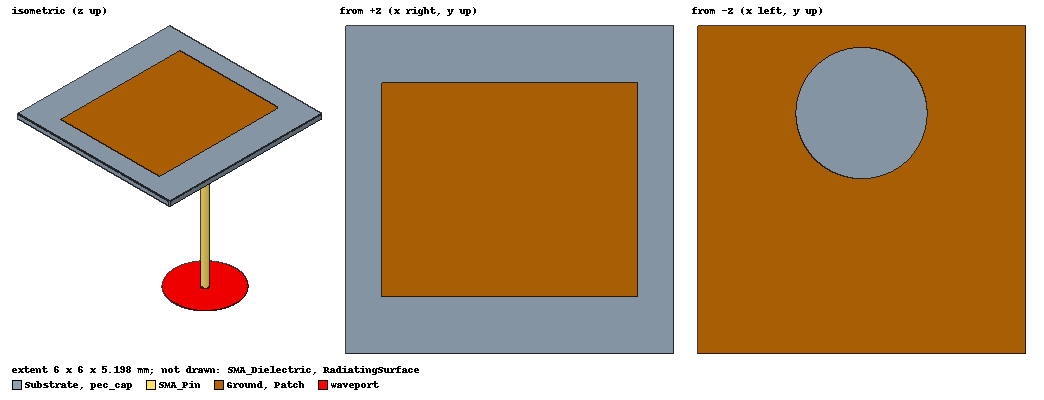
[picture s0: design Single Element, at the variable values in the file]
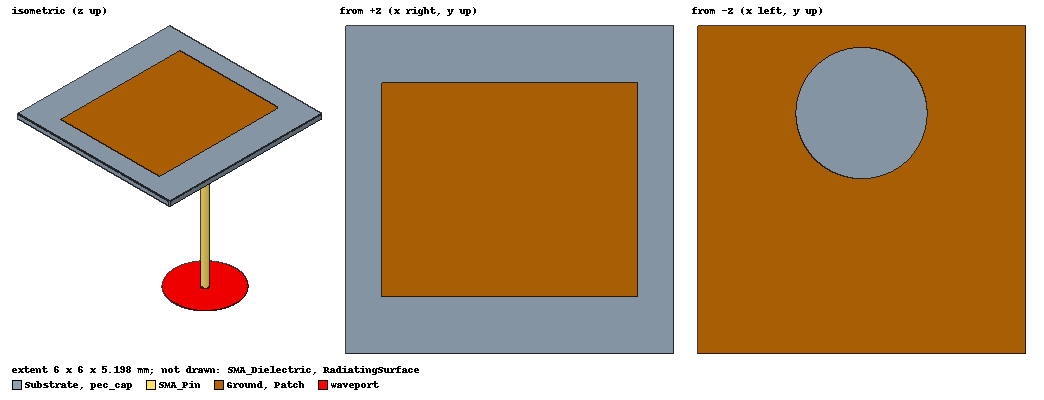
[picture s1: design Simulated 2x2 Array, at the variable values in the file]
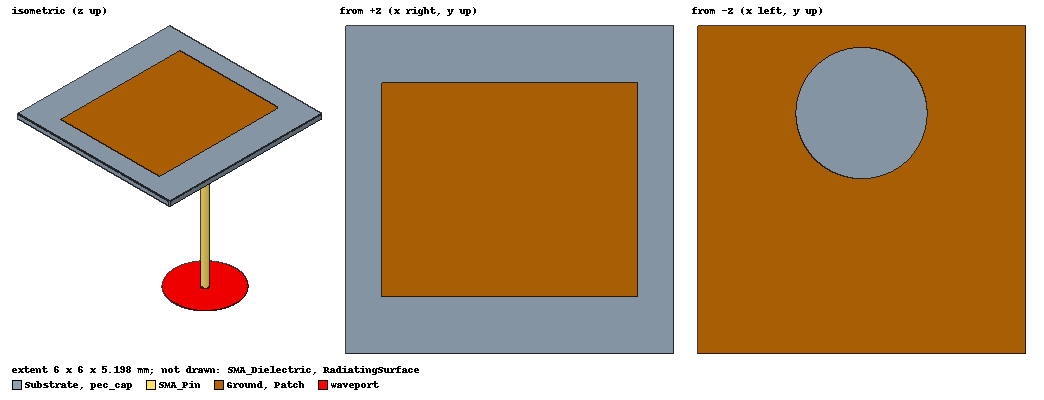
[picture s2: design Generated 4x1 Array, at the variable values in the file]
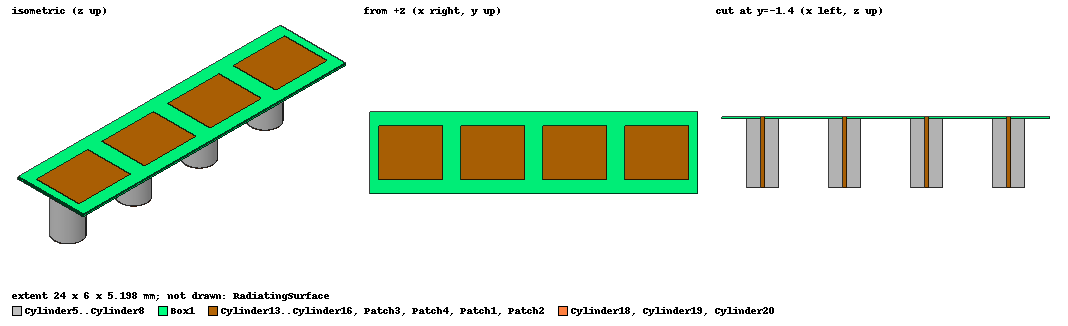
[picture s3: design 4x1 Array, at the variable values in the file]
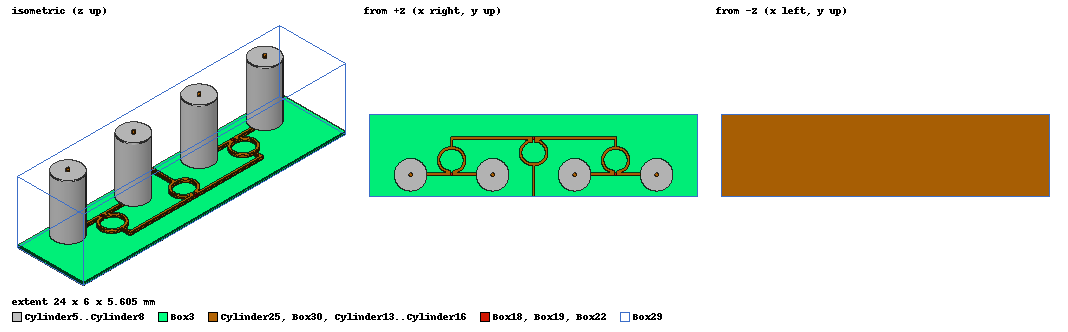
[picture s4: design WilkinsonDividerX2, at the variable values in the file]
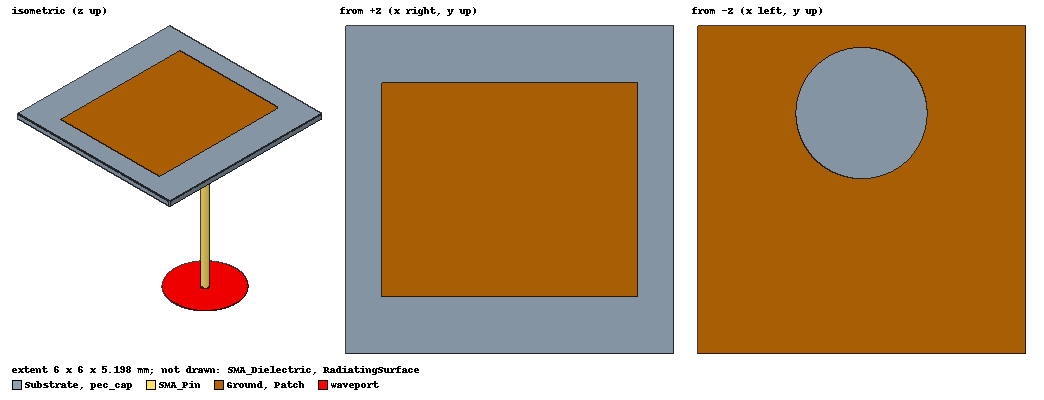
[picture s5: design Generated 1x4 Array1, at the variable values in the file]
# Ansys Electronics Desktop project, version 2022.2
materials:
  vacuum: permittivity=1
  FR4_epoxy: permittivity=4.4 dielectric_loss_tangent=0.02
  pec: conductivity=1e+30
  Teflon (tm): permittivity=2.1 dielectric_loss_tangent=0.001
  air: permittivity=1.0006 permeability=1.0000004
  Duroid (tm): permittivity=2.2 dielectric_loss_tangent=0.0009
  Rogers RT/duroid 5880 (tm): permittivity=2.2 dielectric_loss_tangent=0.0009

design Single Element (HFSS, DrivenTerminal, model units mm)
options: Allow_Material_Override
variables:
  Lg = lambda/2
  wg = lambda/2
  h = 0.015*lambda
  L = 4.7mm
  w = 3.9mm
  Xf = 0mm
  Yf = 1.4mm
  die_diam = 2.4mm
  pin_diam = 0.25mm
  lambda = 12mm
  len = 5mm
  PhiScan = 0deg
  ThetaScan = 0deg
  ScanFrequency = 24500000000Hz
  ScanAngleTheta = 0deg
  ScanAnglePhi = 0deg
  ScanPhaseShiftA = -((ScanFrequency*0.0*sin(ScanAngleTheta)*cos(ScanAnglePhi)) + (ScanFrequency*1.25750701317e-10*sin(ScanAngleTheta)*sin(ScanAnglePhi))) rad
  ScanPhaseShiftB = -((ScanFrequency*1.25750701317e-10*sin(ScanAngleTheta)*cos(ScanAnglePhi)) + (ScanFrequency*0.0*sin(ScanAngleTheta)*sin(ScanAnglePhi))) rad
  ScanMag1 = 1V
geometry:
  Substrate [Rogers RT/duroid 5880 (tm)] = box(corner=(-Lg/2, -wg/2, -h), size=(Lg, wg, h))
  Patch = rectangle(corner=(-L/2, -w/2, 0mm), x_size=L, y_size=w)
  Ground = rectangle(corner=(-Lg/2, -wg/2, -h), x_size=Lg, y_size=wg)
  Circle1 = circle(normal=Z, centre=(Xf, Yf, -h), radius=die_diam/2)
  Ground.subtract(Circle1)
  Cylinder1 = cylinder(axis=Z, base_centre=(Xf, Yf, 0mm), radius=pin_diam/2, height=-h)
  Substrate.subtract(Cylinder1)
  SMA_Dielectric [air] = cylinder(axis=Z, base_centre=(Xf, Yf, -h), radius=die_diam/2, height=-len)
  Cylinder3 = cylinder(axis=Z, base_centre=(Xf, Yf, -h), radius=pin_diam/2, height=-10mm)
  SMA_Dielectric.subtract(Cylinder3)
  SMA_Pin [pec] = cylinder(axis=Z, base_centre=(Xf, Yf, 0mm), radius=pin_diam/2, height=-h-len)
  pec_cap [pec] = cylinder(axis=Z, base_centre=(Xf, Yf, -h-len), radius=die_diam/2, height=-h/10)
  waveport = circle(normal=Z, centre=(Xf, Yf, -h-len), radius=die_diam/2)
  RadiatingSurface [air] = region(absolute_offset: +X=4.0816327mm, -X=4.0816327mm, +Y=4.0816327mm, -Y=4.0816327mm, +Z=4.0816327mm, -Z=0mm)
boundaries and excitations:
  Ground_Plane: Perfect E Objects=Ground
  Patch: Perfect E Objects=Patch
  Outer_Conductor: Perfect E Faces=SMA_Dielectric.face(1 of 3)
  AutoOpen1: Radiation Objects=RadiatingSurface
  SMA_Pin_T1: Terminal port=1 Faces=SMA_Pin.face(2 of 3) TerminalResistance=50ohm
  1: Wave Port Faces=waveport.face NumModes=1
  reference conductors: pec_cap
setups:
  Setup1: HfssDriven Frequency=24.5GHz MaxDeltaS=0.02 MaximumPasses=15 MinimumPasses=1 MinimumConvergedPasses=1 PercentRefinement=30 BasisOrder=1 PortAccuracy=2 DrivenSolverType="Direct Solver" InfiniteSphereSetup=66
    sweep Sweep: 21.5GHz to 27.5GHz, 1501 points; Type=Interpolating SaveFields InterpTolerance=0.5 InterpMaxSolns=250 PassivityErrorTolerance=0.0001
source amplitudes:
  1:1: 1V 0deg
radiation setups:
  3D: Infinite Sphere Theta=-180deg..180deg step 2deg Phi=-180deg..180deg step 2deg
  Elevation: Infinite Sphere Theta=-180deg..180deg step 1deg Phi=0deg..90deg step 90deg
  Azimuth: Infinite Sphere Theta=90deg..90deg step 0deg Phi=-180deg..180deg step 1deg
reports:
  S11 Reflection: dB(St(SMA_Pin_T1,SMA_Pin_T1)) vs Freq on Setup1 : Sweep; markers m1 at 24.524GHz, m2 at 24.236GHz, m3 at 24.836GHz
  Gain 2D [dB]: dB(GainTotal) vs Theta on Setup1 : LastAdaptive, 3D [Phi=0deg,90deg Freq=24.5GHz]; markers m1 at 0deg, m2 at 42deg
  Terminal S Parameter Chart 1: St(SMA_Pin_T1,SMA_Pin_T1) on Setup1 : Sweep [Freq=all]; markers m1 at 24.508GHz
  Gain Plot 3: dB(GainTotal) vs Phi, Theta on Setup1 : LastAdaptive, 3D [Freq=24.5GHz]
  Terminal VSWR Plot 1: VSWRt(SMA_Pin_T1) vs Freq on Setup1 : Sweep; markers m1 at 24.212GHz, m2 at 24.86GHz
  Directivity 2D [dB]: dB(DirTotal) vs Theta on Setup1 : LastAdaptive, 3D [Phi=0deg,90deg Freq=24.5GHz]; markers m1 at 0deg, m2 at 42deg
  Port 1 VSWR: VSWRt(SMA_Pin_T1) vs Freq on Setup1 : Sweep; markers m1 at 24.212GHz, m2 at 24.86GHz

design Simulated 2x2 Array (HFSS, DrivenTerminal, model units mm)
options: Allow_Material_Override
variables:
  Lg = lambda/2
  wg = lambda/2
  h = 0.015*lambda
  L = 4.7mm
  w = 3.9mm
  Xf = 0mm
  Yf = 1.4mm
  die_diam = 2.4mm
  pin_diam = 0.25mm
  lambda = 12mm
  len = 5mm
  PhiScan = 0deg
  ThetaScan = 0deg
  ScanFrequency = 24500000000Hz
  ScanAngleTheta = 0deg
  ScanAnglePhi = 0deg
  ScanPhaseShiftA = -((ScanFrequency*0.0*sin(ScanAngleTheta)*cos(ScanAnglePhi)) + (ScanFrequency*1.25750701317e-10*sin(ScanAngleTheta)*sin(ScanAnglePhi))) rad
  ScanPhaseShiftB = -((ScanFrequency*1.25750701317e-10*sin(ScanAngleTheta)*cos(ScanAnglePhi)) + (ScanFrequency*0.0*sin(ScanAngleTheta)*sin(ScanAnglePhi))) rad
  ScanMag1 = 1V
  ScanPhase1 = 0deg
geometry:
  Substrate [Rogers RT/duroid 5880 (tm)] = box(corner=(-Lg/2, -wg/2, -h), size=(Lg, wg, h))
  Patch = rectangle(corner=(-L/2, -w/2, 0mm), x_size=L, y_size=w)
  Ground = rectangle(corner=(-Lg/2, -wg/2, -h), x_size=Lg, y_size=wg)
  Circle1 = circle(normal=Z, centre=(Xf, Yf, -h), radius=die_diam/2)
  Ground.subtract(Circle1)
  Cylinder1 = cylinder(axis=Z, base_centre=(Xf, Yf, 0mm), radius=pin_diam/2, height=-h)
  Substrate.subtract(Cylinder1)
  SMA_Dielectric [air] = cylinder(axis=Z, base_centre=(Xf, Yf, -h), radius=die_diam/2, height=-len)
  Cylinder3 = cylinder(axis=Z, base_centre=(Xf, Yf, -h), radius=pin_diam/2, height=-10mm)
  SMA_Dielectric.subtract(Cylinder3)
  SMA_Pin [pec] = cylinder(axis=Z, base_centre=(Xf, Yf, 0mm), radius=pin_diam/2, height=-h-len)
  pec_cap [pec] = cylinder(axis=Z, base_centre=(Xf, Yf, -h-len), radius=die_diam/2, height=-h/10)
  waveport = circle(normal=Z, centre=(Xf, Yf, -h-len), radius=die_diam/2)
  RadiatingSurface [air] = region(absolute_offset: +X=0mm, -X=0mm, +Y=0mm, -Y=0mm, +Z=4.0816327mm, -Z=0mm)
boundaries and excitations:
  Ground_Plane: Perfect E Objects=Ground
  Patch: Perfect E Objects=Patch
  Outer_Conductor: Perfect E Faces=SMA_Dielectric.face(1 of 3)
  LatticePair1: Lattice Pair Faces=RadiatingSurface.face(-y, +y) CoordSysVector{(-3, -3, 4.0816327) -> (-3, -3, -5.198)} ReverseV PhaseDelay=UseScanAngle Phi=PhiScan Theta=ThetaScan
  LatticePair2: Lattice Pair Faces=RadiatingSurface.face(-x, +x) CoordSysVector{(-3, 3, 4.0816327) -> (-3, 3, -5.198)} ReverseV PhaseDelay=UseScanAngle Phi=PhiScan Theta=ThetaScan
  Rad1: Radiation Faces=RadiatingSurface.face(+z, -z)
  SMA_Pin_T1: Terminal port=1 Faces=SMA_Pin.face(2 of 3) TerminalResistance=50ohm
  1: Wave Port Faces=waveport.face NumModes=1
  reference conductors: pec_cap
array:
  Type=Regular Name=2x2 UseAirObjects RowPrimaryBnd=LatticePair1 ColumnPrimaryBnd=LatticePair2 RowDimension=2 ColumnDimension=2 ShowCellNumber RenderType=0 Padding=1 PostProcessRow=1 PostProcessCol=1 ReferenceCSID=1
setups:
  Setup1: HfssDriven Frequency=24.5GHz MaxDeltaS=0.02 MaximumPasses=15 MinimumPasses=1 MinimumConvergedPasses=1 PercentRefinement=30 BasisOrder=1 PortAccuracy=2 DrivenSolverType="Direct Solver" InfiniteSphereSetup=66
    sweep Sweep: 21.5GHz to 27.5GHz, 1501 points; Type=Interpolating SaveFields InterpTolerance=0.5 InterpMaxSolns=250 PassivityErrorTolerance=0.0001
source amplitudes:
  1:1: ScanMag1*1 ScanPhase1 + (0*ScanPhaseShiftA + 0*ScanPhaseShiftB)
  1:2: ScanMag1*1 ScanPhase1 + (0*ScanPhaseShiftA + 1*ScanPhaseShiftB)
  1:3: ScanMag1*1 ScanPhase1 + (1*ScanPhaseShiftA + 0*ScanPhaseShiftB)
  1:4: ScanMag1*1 ScanPhase1 + (1*ScanPhaseShiftA + 1*ScanPhaseShiftB)
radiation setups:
  Infinite Sphere1: Infinite Sphere Theta=-180deg..180deg step 10deg Phi=-180deg..180deg step 10deg
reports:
  Terminal S Parameter Plot 2: dB(St(2x2[1,1]SMA_Pin_T1,2x2[1,1]SMA_Pin_T1)), dB(St(2x2[1,2]SMA_Pin_T1,2x2[1,2]SMA_Pin_T1)), dB(St(2x2[2,1]SMA_Pin_T1,2x2[2,1]SMA_Pin_T1)), dB(St(2x2[2,2]SMA_Pin_T1,2x2[2,2]SMA_Pin_T1)) vs Freq on Setup1 : Sweep; markers m1 at 24.556GHz, m2 at 24.276GHz, m3 at 24.848GHz
  Terminal S Parameter Chart 1: St(2x2[1,1]SMA_Pin_T1,2x2[1,1]SMA_Pin_T1), St(2x2[1,2]SMA_Pin_T1,2x2[1,2]SMA_Pin_T1), St(2x2[2,1]SMA_Pin_T1,2x2[2,1]SMA_Pin_T1), St(2x2[2,2]SMA_Pin_T1,2x2[2,2]SMA_Pin_T1) on Setup1 : Sweep [Freq=all]; markers m1 at 24.536GHz
  Gain Plot 1: dB(GainTotal) vs Phi, Theta on Setup1 : LastAdaptive, Infinite Sphere1 [Freq=24.5GHz]
  Gain Plot 2: dB(GainTotal) vs Theta on Setup1 : LastAdaptive, Infinite Sphere1 [Phi=0deg,90deg Freq=24.5GHz]
  Directivity Plot 1: dB(DirTotal) vs Theta on Setup1 : LastAdaptive, Infinite Sphere1 [Phi=0deg,90deg Freq=24.5GHz]; markers m1 at 0deg, m2 at 30deg, m3 at -30deg

design Generated 4x1 Array (HFSS, DrivenTerminal, model units mm)
options: Allow_Material_Override
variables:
  Lg = lambda/2
  wg = lambda/2
  h = 0.015*lambda
  L = 4.7mm
  w = 3.9mm
  Xf = 0mm
  Yf = 1.4mm
  die_diam = 2.4mm
  pin_diam = 0.25mm
  lambda = 12mm
  len = 5mm
  PhiScan = 0deg
  ThetaScan = 0deg
  ScanFrequency = 24500000000Hz
  ScanAngleTheta = 0deg
  ScanAnglePhi = 0deg
  ScanPhaseShiftA = -((ScanFrequency*0.0*sin(ScanAngleTheta)*cos(ScanAnglePhi)) + (ScanFrequency*1.25750701317e-10*sin(ScanAngleTheta)*sin(ScanAnglePhi))) rad
  ScanPhaseShiftB = -((ScanFrequency*1.25750701317e-10*sin(ScanAngleTheta)*cos(ScanAnglePhi)) + (ScanFrequency*0.0*sin(ScanAngleTheta)*sin(ScanAnglePhi))) rad
  ScanMag1 = 1V
  ScanPhase1 = 0deg
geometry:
  Substrate [Rogers RT/duroid 5880 (tm)] = box(corner=(-Lg/2, -wg/2, -h), size=(Lg, wg, h))
  Patch = rectangle(corner=(-L/2, -w/2, 0mm), x_size=L, y_size=w)
  Ground = rectangle(corner=(-Lg/2, -wg/2, -h), x_size=Lg, y_size=wg)
  Circle1 = circle(normal=Z, centre=(Xf, Yf, -h), radius=die_diam/2)
  Ground.subtract(Circle1)
  Cylinder1 = cylinder(axis=Z, base_centre=(Xf, Yf, 0mm), radius=pin_diam/2, height=-h)
  Substrate.subtract(Cylinder1)
  SMA_Dielectric [air] = cylinder(axis=Z, base_centre=(Xf, Yf, -h), radius=die_diam/2, height=-len)
  Cylinder3 = cylinder(axis=Z, base_centre=(Xf, Yf, -h), radius=pin_diam/2, height=-10mm)
  SMA_Dielectric.subtract(Cylinder3)
  SMA_Pin [pec] = cylinder(axis=Z, base_centre=(Xf, Yf, 0mm), radius=pin_diam/2, height=-h-len)
  pec_cap [pec] = cylinder(axis=Z, base_centre=(Xf, Yf, -h-len), radius=die_diam/2, height=-h/10)
  waveport = circle(normal=Z, centre=(Xf, Yf, -h-len), radius=die_diam/2)
  RadiatingSurface [air] = region(absolute_offset: +X=0mm, -X=0mm, +Y=0mm, -Y=0mm, +Z=4.0816327mm, -Z=0mm)
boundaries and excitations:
  Ground_Plane: Perfect E Objects=Ground
  Patch: Perfect E Objects=Patch
  Outer_Conductor: Perfect E Faces=SMA_Dielectric.face(1 of 3)
  LatticePair1: Lattice Pair Faces=RadiatingSurface.face(-y, +y) CoordSysVector{(-3, -3, 4.0816327) -> (-3, -3, -5.198)} ReverseV PhaseDelay=UseScanAngle Phi=PhiScan Theta=ThetaScan
  LatticePair2: Lattice Pair Faces=RadiatingSurface.face(-x, +x) CoordSysVector{(-3, 3, 4.0816327) -> (-3, 3, -5.198)} ReverseV PhaseDelay=UseScanAngle Phi=PhiScan Theta=ThetaScan
  Rad1: Radiation Faces=RadiatingSurface.face(+z, -z)
  SMA_Pin_T1: Terminal port=1 Faces=SMA_Pin.face(2 of 3) TerminalResistance=50ohm
  1: Wave Port Faces=waveport.face NumModes=1
  reference conductors: pec_cap
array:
  Type=Regular Name=4x1 UseAirObjects RowPrimaryBnd=LatticePair1 ColumnPrimaryBnd=LatticePair2 RowDimension=4 ColumnDimension=1 ShowCellNumber RenderType=0 Padding=1 PostProcessRow=1 PostProcessCol=1 ReferenceCSID=1
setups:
  Setup1: HfssDriven Frequency=24.5GHz MaxDeltaS=0.02 MaximumPasses=5 MinimumPasses=1 MinimumConvergedPasses=1 PercentRefinement=30 BasisOrder=1 PortAccuracy=2 DrivenSolverType="Direct Solver" InfiniteSphereSetup=88
    sweep Sweep: 23.5GHz to 25.5GHz, 501 points; Type=Discrete SaveFields
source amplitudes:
  1:1: ScanMag1*1 ScanPhase1 + (0*ScanPhaseShiftA + 0*ScanPhaseShiftB)
  1:2: ScanMag1*1 ScanPhase1 + (1*ScanPhaseShiftA + 0*ScanPhaseShiftB)
  1:3: ScanMag1*1 ScanPhase1 + (2*ScanPhaseShiftA + 0*ScanPhaseShiftB)
  1:4: ScanMag1*1 ScanPhase1 + (3*ScanPhaseShiftA + 0*ScanPhaseShiftB)
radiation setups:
  Infinite Sphere1: Infinite Sphere Theta=-180deg..180deg step 10deg Phi=-180deg..180deg step 10deg
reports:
  Terminal S Parameter Plot 1: dB(St(4x1[1,1]SMA_Pin_T1,4x1[1,1]SMA_Pin_T1)), dB(St(4x1[2,1]SMA_Pin_T1,4x1[2,1]SMA_Pin_T1)), dB(St(4x1[3,1]SMA_Pin_T1,4x1[3,1]SMA_Pin_T1)), dB(St(4x1[4,1]SMA_Pin_T1,4x1[4,1]SMA_Pin_T1)) vs Freq on Setup1 : Sweep; markers m1 at 24.576GHz, m2 at 23.928GHz
  Gain Plot 1: dB(GainTotal) vs Phi, Theta on Setup1 : LastAdaptive, Infinite Sphere1 [Freq=24.5GHz]
  Directivity Plot 1: dB(DirTotal) vs Phi, Theta on Setup1 : LastAdaptive, Infinite Sphere1 [Freq=24.5GHz]
  2D Directivity [dB]: dB(DirTotal) vs Theta on Setup1 : LastAdaptive, Infinite Sphere1 [Phi=0deg,90deg Freq=24.5GHz]; markers m1 at 0deg, m2 at 10deg, m3 at 50deg, m4 at -50deg, m7 at 180deg, m8 at 40deg
  Terminal S Parameter Plot 2: dB(St(4x1[1,1]SMA_Pin_T1,4x1[1,1]SMA_Pin_T1)), dB(St(4x1[2,1]SMA_Pin_T1,4x1[1,1]SMA_Pin_T1)), dB(St(4x1[3,1]SMA_Pin_T1,4x1[1,1]SMA_Pin_T1)), dB(St(4x1[4,1]SMA_Pin_T1,4x1[1,1]SMA_Pin_T1)), dB(St(4x1[1,1]SMA_Pin_T1,4x1[2,1]SMA_Pin_T1)), dB(St(4x1[2,1]SMA_Pin_T1,4x1[2,1]SMA_Pin_T1)), dB(St(4x1[3,1]SMA_Pin_T1,4x1[2,1]SMA_Pin_T1)), dB(St(4x1[4,1]SMA_Pin_T1,4x1[2,1]SMA_Pin_T1)), dB(St(4x1[1,1]SMA_Pin_T1,4x1[3,1]SMA_Pin_T1)), dB(St(4x1[2,1]SMA_Pin_T1,4x1[3,1]SMA_Pin_T1)), dB(St(4x1[3,1]SMA_Pin_T1,4x1[3,1]SMA_Pin_T1)), dB(St(4x1[4,1]SMA_Pin_T1,4x1[3,1]SMA_Pin_T1)), dB(St(4x1[1,1]SMA_Pin_T1,4x1[4,1]SMA_Pin_T1)), dB(St(4x1[2,1]SMA_Pin_T1,4x1[4,1]SMA_Pin_T1)), dB(St(4x1[3,1]SMA_Pin_T1,4x1[4,1]SMA_Pin_T1)), dB(St(4x1[4,1]SMA_Pin_T1,4x1[4,1]SMA_Pin_T1)) vs Freq on Setup1 : Sweep
  VSWR @Each Port: VSWRt(4x1[1,1]SMA_Pin_T1), VSWRt(4x1[2,1]SMA_Pin_T1), VSWRt(4x1[3,1]SMA_Pin_T1) vs Freq on Setup1 : Sweep; markers m1 at 23.932GHz, m2 at 24.6GHz
  S- Parameters: dB(St(4x1[1,1]SMA_Pin_T1,4x1[1,1]SMA_Pin_T1)), dB(St(4x1[2,1]SMA_Pin_T1,4x1[1,1]SMA_Pin_T1)), dB(St(4x1[3,1]SMA_Pin_T1,4x1[1,1]SMA_Pin_T1)), dB(St(4x1[4,1]SMA_Pin_T1,4x1[1,1]SMA_Pin_T1)), dB(St(4x1[1,1]SMA_Pin_T1,4x1[2,1]SMA_Pin_T1)), dB(St(4x1[2,1]SMA_Pin_T1,4x1[2,1]SMA_Pin_T1)), dB(St(4x1[3,1]SMA_Pin_T1,4x1[2,1]SMA_Pin_T1)), dB(St(4x1[4,1]SMA_Pin_T1,4x1[2,1]SMA_Pin_T1)), dB(St(4x1[1,1]SMA_Pin_T1,4x1[3,1]SMA_Pin_T1)), dB(St(4x1[2,1]SMA_Pin_T1,4x1[3,1]SMA_Pin_T1)), dB(St(4x1[3,1]SMA_Pin_T1,4x1[3,1]SMA_Pin_T1)), dB(St(4x1[4,1]SMA_Pin_T1,4x1[3,1]SMA_Pin_T1)), dB(St(4x1[1,1]SMA_Pin_T1,4x1[4,1]SMA_Pin_T1)), dB(St(4x1[2,1]SMA_Pin_T1,4x1[4,1]SMA_Pin_T1)), dB(St(4x1[3,1]SMA_Pin_T1,4x1[4,1]SMA_Pin_T1)), dB(St(4x1[4,1]SMA_Pin_T1,4x1[4,1]SMA_Pin_T1)) vs Freq on Setup1 : Sweep; markers m1 at 23.928GHz, m2 at 24.512GHz
  2D Gain [dB]: dB(GainTotal) vs Theta on Setup1 : LastAdaptive, Infinite Sphere1 [Phi=0deg,90deg Freq=24.5GHz]; markers m1 at 0deg

design 4x1 Array (HFSS, DrivenTerminal, model units mm)
options: Allow_Material_Override
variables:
  Lg = lambda/2
  wg = lambda/2
  h = 0.015*lambda
  L = 4.7mm
  w = 3.9mm
  Xf = 0mm
  Yf = 1.4mm
  die_diam = 2.4mm
  pin_diam = 0.25mm
  lambda = 12mm
  len = 5mm
  PhiScan = 0deg
  ThetaScan = 0deg
  C1 = -lambda/4
  C2 = -lambda/4 -lambda/2
  C3 = C1 * -1
  C4 = C2* -1
  ScanFrequency = 24500000000Hz
  ScanAngleTheta = 0deg
  ScanAnglePhi = 0deg
  ScanPhaseShiftA = -((ScanFrequency*0.0*sin(ScanAngleTheta)*cos(ScanAnglePhi)) + (ScanFrequency*1.25750701317e-10*sin(ScanAngleTheta)*sin(ScanAnglePhi))) rad
  ScanPhaseShiftB = -((ScanFrequency*1.25750701317e-10*sin(ScanAngleTheta)*cos(ScanAnglePhi)) + (ScanFrequency*0.0*sin(ScanAngleTheta)*sin(ScanAnglePhi))) rad
  ScanMag1 = 1V
  ScanPhase1 = 0deg
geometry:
  Box1 [Rogers RT/duroid 5880 (tm)] = box(corner=(-lambda, -lambda/4, 0mm), size=(2*lambda, lambda/2, -h))
  Patch1 = rectangle(corner=(C2-L/2, -w/2, 0mm), x_size=L, y_size=w)
  Patch2 = rectangle(corner=(C1-L/2, -w/2, 0mm), x_size=L, y_size=w)
  Patch3 = rectangle(corner=(C3-L/2, -w/2, 0mm), x_size=L, y_size=w)
  Patch4 = rectangle(corner=(C4-L/2, -w/2, 0mm), x_size=L, y_size=w)
  GroundPlane = rectangle(corner=(-lambda, -lambda/4, -h), x_size=2*lambda, y_size=lambda/2)
  Circle1 = circle(normal=Z, centre=(C2, -Yf, -h), radius=die_diam/2)
  Circle2 = circle(normal=Z, centre=(C1, -Yf, -h), radius=die_diam/2)
  Circle3 = circle(normal=Z, centre=(C3, -Yf, -h), radius=die_diam/2)
  Circle4 = circle(normal=Z, centre=(C4, -Yf, -h), radius=die_diam/2)
  GroundPlane.subtract(Circle1..Circle4)
  Cylinder1 = cylinder(axis=Z, base_centre=(C1, -Yf, -h), radius=pin_diam/2, height=h)
  Cylinder2 = cylinder(axis=Z, base_centre=(C2, -Yf, -h), radius=pin_diam/2, height=h)
  Cylinder3 = cylinder(axis=Z, base_centre=(C3, -Yf, -h), radius=pin_diam/2, height=h)
  Cylinder4 = cylinder(axis=Z, base_centre=(C4, -Yf, -h), radius=pin_diam/2, height=h)
  Box1.subtract(Cylinder1..Cylinder4)
  Cylinder5 [air] = cylinder(axis=Z, base_centre=(C1, -Yf, -h), radius=die_diam/2, height=-len)
  Cylinder6 [air] = cylinder(axis=Z, base_centre=(C2, -Yf, -h), radius=die_diam/2, height=-len)
  Cylinder7 [air] = cylinder(axis=Z, base_centre=(C3, -Yf, -h), radius=die_diam/2, height=-len)
  Cylinder8 [air] = cylinder(axis=Z, base_centre=(C4, -Yf, -h), radius=die_diam/2, height=-len)
  Cylinder9 = cylinder(axis=Z, base_centre=(C1, -Yf, -h-len), radius=pin_diam/2, height=h+len)
  Cylinder10 = cylinder(axis=Z, base_centre=(C2, -Yf, -h-len), radius=pin_diam/2, height=h+len)
  Cylinder11 = cylinder(axis=Z, base_centre=(C3, -Yf, -h-len), radius=pin_diam/2, height=h+len)
  Cylinder12 = cylinder(axis=Z, base_centre=(C4, -Yf, -h-len), radius=pin_diam/2, height=h+len)
  Cylinder10_1 = Cylinder10.copy()
  Cylinder11_1 = Cylinder11.copy()
  Cylinder12_1 = Cylinder12.copy()
  Cylinder9_1 = Cylinder9.copy()
  Cylinder5.subtract(Cylinder10_1, Cylinder11_1, Cylinder12_1, Cylinder9_1)
  Cylinder10_2 = Cylinder10.copy()
  Cylinder11_2 = Cylinder11.copy()
  Cylinder12_2 = Cylinder12.copy()
  Cylinder9_2 = Cylinder9.copy()
  Cylinder6.subtract(Cylinder10_2, Cylinder11_2, Cylinder12_2, Cylinder9_2)
  Cylinder10_3 = Cylinder10.copy()
  Cylinder11_3 = Cylinder11.copy()
  Cylinder12_3 = Cylinder12.copy()
  Cylinder9_3 = Cylinder9.copy()
  Cylinder7.subtract(Cylinder10_3, Cylinder11_3, Cylinder12_3, Cylinder9_3)
  Cylinder8.subtract(Cylinder10, Cylinder11, Cylinder12, Cylinder9)
  Cylinder13 [pec] = cylinder(axis=Z, base_centre=(C1, -Yf, -h-len), radius=pin_diam/2, height=h+len)
  Cylinder14 [pec] = cylinder(axis=Z, base_centre=(C2, -Yf, -h-len), radius=pin_diam/2, height=h+len)
  Cylinder15 [pec] = cylinder(axis=Z, base_centre=(C3, -Yf, -h-len), radius=pin_diam/2, height=h+len)
  Cylinder16 [pec] = cylinder(axis=Z, base_centre=(C4, -Yf, -h-len), radius=pin_diam/2, height=h+len)
  Cylinder17 [pec] = cylinder(axis=Z, base_centre=(9mm, -1.4mm, -5.18mm), radius=1.2mm, height=-h/10)
  Cylinder18 [pec] = cylinder(axis=Z, base_centre=(C3, -1.4mm, -5.18mm), radius=1.2mm, height=-h/10)
  Cylinder19 [pec] = cylinder(axis=Z, base_centre=(C2, -1.4mm, -5.18mm), radius=1.2mm, height=-h/10)
  Cylinder20 [pec] = cylinder(axis=Z, base_centre=(C1, -1.4mm, -5.18mm), radius=1.2mm, height=-h/10)
  RadiatingSurface [air] = region(absolute_offset: +X=4.0816327mm, -X=4.0816327mm, +Y=4.0816327mm, -Y=4.0816327mm, +Z=4.0816327mm, -Z=0mm)
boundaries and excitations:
  PerfE1: Perfect E Objects=Patch1
  PerfE2: Perfect E Objects=Patch2
  PerfE3: Perfect E Objects=Patch3
  PerfE4: Perfect E Objects=Patch4
  PerfE5: Perfect E Faces=Cylinder6.face(1 of 3)
  PerfE6: Perfect E Faces=Cylinder5.face(1 of 3)
  PerfE7: Perfect E Faces=Cylinder7.face(1 of 3)
  PerfE8: Perfect E Faces=Cylinder8.face(1 of 3)
  AutoOpen1: Radiation Objects=RadiatingSurface
  PerfE9: Perfect E Objects=GroundPlane
  Cylinder16_T1: Terminal port=1 Faces=Cylinder16.face(2 of 3) TerminalResistance=50ohm
  Cylinder15_T1: Terminal port=2 Faces=Cylinder15.face(2 of 3) TerminalResistance=50ohm
  Cylinder13_T1: Terminal port=3 Faces=Cylinder13.face(2 of 3) TerminalResistance=50ohm
  Cylinder14_T1: Terminal port=4 Faces=Cylinder14.face(2 of 3) TerminalResistance=50ohm
  1: Wave Port Faces=Cylinder17.face(3 of 3) NumModes=1
  2: Wave Port Faces=Cylinder18.face(3 of 3) NumModes=1
  3: Wave Port Faces=Cylinder20.face(3 of 3) NumModes=1
  4: Wave Port Faces=Cylinder19.face(3 of 3) NumModes=1
  reference conductors: Cylinder19
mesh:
  initial mesh: GlobalSurfApproximation{CurvedSurfaceApproxChoice=UseSlider SliderMeshSettings=1} MeshMethod=AnsoftClassic
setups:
  Setup1: HfssDriven Frequency=24.5GHz MaxDeltaS=0.02 MaximumPasses=15 MinimumPasses=1 MinimumConvergedPasses=1 PercentRefinement=30 BasisOrder=1 PortAccuracy=2 DrivenSolverType="Direct Solver" InfiniteSphereSetup=91
    sweep Sweep: 23.5GHz to 25.5GHz, 501 points; Type=Discrete SaveFields
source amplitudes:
  1:1: 1V 0deg
  2:1, 3:1, 4:1: 0V 0deg
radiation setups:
  3D: Infinite Sphere Theta=0deg..180deg step 2deg Phi=-180deg..180deg step 2deg
  Elevation: Infinite Sphere Theta=-180deg..180deg step 1deg Phi=0deg..90deg step 90deg
  Azimuth: Infinite Sphere Theta=90deg..90deg step 0deg Phi=-180deg..180deg step 1deg
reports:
  Terminal S Parameter Plot 1: dB(St(Cylinder16_T1,Cylinder16_T1)), dB(St(Cylinder15_T1,Cylinder16_T1)), dB(St(Cylinder13_T1,Cylinder16_T1)), dB(St(Cylinder14_T1,Cylinder16_T1)), dB(St(Cylinder16_T1,Cylinder15_T1)), dB(St(Cylinder15_T1,Cylinder15_T1)), dB(St(Cylinder13_T1,Cylinder15_T1)), dB(St(Cylinder14_T1,Cylinder15_T1)), dB(St(Cylinder16_T1,Cylinder13_T1)), dB(St(Cylinder15_T1,Cylinder13_T1)), dB(St(Cylinder13_T1,Cylinder13_T1)), dB(St(Cylinder14_T1,Cylinder13_T1)), dB(St(Cylinder16_T1,Cylinder14_T1)), dB(St(Cylinder15_T1,Cylinder14_T1)), dB(St(Cylinder13_T1,Cylinder14_T1)), dB(St(Cylinder14_T1,Cylinder14_T1)) vs Freq on Setup1 : Sweep
  Gain Plot 1: dB(GainTotal) vs Phi, Theta on Setup1 : LastAdaptive, 3D [Freq=24.5GHz]

design WilkinsonDividerX2 (HFSS, DrivenTerminal, model units mm)
options: Allow_Material_Override
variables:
  Lg = lambda/2
  wg = lambda/2
  h = 0.015*lambda
  L = 4.7mm
  w = 3.9mm
  Xf = 0mm
  Yf = 1.4mm
  die_diam = 2.4mm
  pin_diam = 0.25mm
  lambda = 12mm
  len = 5mm
  PhiScan = 0deg
  ThetaScan = 0deg
  C1 = -lambda/4
  C2 = -lambda/4 -lambda/2
  C3 = C1 * -1
  C4 = C2* -1
  tt = 0.2mm
  tw = 0.2018mm
  ScanFrequency = 24500000000Hz
  ScanAngleTheta = 0deg
  ScanAnglePhi = 0deg
  ScanPhaseShiftA = -((ScanFrequency*0.0*sin(ScanAngleTheta)*cos(ScanAnglePhi)) + (ScanFrequency*1.25750701317e-10*sin(ScanAngleTheta)*sin(ScanAnglePhi))) rad
  ScanPhaseShiftB = -((ScanFrequency*1.25750701317e-10*sin(ScanAngleTheta)*cos(ScanAnglePhi)) + (ScanFrequency*0.0*sin(ScanAngleTheta)*sin(ScanAnglePhi))) rad
  ScanMag1 = 1V
  ScanPhase1 = 0deg
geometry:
  Cylinder5 [air] = cylinder(axis=Z, base_centre=(C1, -Yf, -h), radius=die_diam/2, height=-len)
  Cylinder6 [air] = cylinder(axis=Z, base_centre=(C2, -Yf, -h), radius=die_diam/2, height=-len)
  Cylinder7 [air] = cylinder(axis=Z, base_centre=(C3, -Yf, -h), radius=die_diam/2, height=-len)
  Cylinder8 [air] = cylinder(axis=Z, base_centre=(C4, -Yf, -h), radius=die_diam/2, height=-len)
  Cylinder9 = cylinder(axis=Z, base_centre=(C1, -Yf, -h-len), radius=pin_diam/2, height=h+len)
  Cylinder10 = cylinder(axis=Z, base_centre=(C2, -Yf, -h-len), radius=pin_diam/2, height=h+len)
  Cylinder11 = cylinder(axis=Z, base_centre=(C3, -Yf, -h-len), radius=pin_diam/2, height=h+len)
  Cylinder12 = cylinder(axis=Z, base_centre=(C4, -Yf, -h-len), radius=pin_diam/2, height=h+len)
  Cylinder10_1 = Cylinder10.copy()
  Cylinder11_1 = Cylinder11.copy()
  Cylinder12_1 = Cylinder12.copy()
  Cylinder9_1 = Cylinder9.copy()
  Cylinder5.subtract(Cylinder10_1, Cylinder11_1, Cylinder12_1, Cylinder9_1)
  Cylinder10_2 = Cylinder10.copy()
  Cylinder11_2 = Cylinder11.copy()
  Cylinder12_2 = Cylinder12.copy()
  Cylinder9_2 = Cylinder9.copy()
  Cylinder6.subtract(Cylinder10_2, Cylinder11_2, Cylinder12_2, Cylinder9_2)
  Cylinder10_3 = Cylinder10.copy()
  Cylinder11_3 = Cylinder11.copy()
  Cylinder12_3 = Cylinder12.copy()
  Cylinder9_3 = Cylinder9.copy()
  Cylinder7.subtract(Cylinder10_3, Cylinder11_3, Cylinder12_3, Cylinder9_3)
  Cylinder8.subtract(Cylinder10, Cylinder11, Cylinder12, Cylinder9)
  Cylinder13 [pec] = cylinder(axis=Z, base_centre=(C1, -Yf, -h-len), radius=pin_diam/2, height=h+len)
  Cylinder14 [pec] = cylinder(axis=Z, base_centre=(C2, -Yf, -h-len), radius=pin_diam/2, height=h+len)
  Cylinder15 [pec] = cylinder(axis=Z, base_centre=(C3, -Yf, -h-len), radius=pin_diam/2, height=h+len)
  Cylinder16 [pec] = cylinder(axis=Z, base_centre=(C4, -Yf, -h-len), radius=pin_diam/2, height=h+len)
  plane Plane1 = base (6.125mm, -1.275mm, -5.18mm) normal (-0.125mm, 2.075mm, -0.02mm)
  plane Plane2 = base (7mm, -3mm, 0mm) normal (0mm, -0.2mm, 0mm)
  Box2 = box(corner=(C4+pin_diam/2, -Yf+pin_diam/2, -h-len), size=(-lambda/4+tw/2-pin_diam/2, -tw, -tt))
  Box3 [Rogers RT/duroid 5880 (tm)] = box(corner=(-lambda, -lambda/4, -h-len-tt), size=(2*lambda, lambda/2, -h))
  Box4 = box(corner=(C3-pin_diam/2, -Yf+pin_diam/2, -h-len), size=(lambda/4-tw/2+pin_diam/2, -tw, -tt))
  Cylinder17 = cylinder(axis=Z, base_centre=(C4-lambda/4+tw/2, -Yf+lambda/4/pi+pin_diam/2, -h-len), radius=lambda/4/pi, height=-tt)
  Cylinder18 = cylinder(axis=Z, base_centre=(C4-lambda/4+tw/2, -Yf+lambda/4/pi+pin_diam/2, -h-len), radius=lambda/4/pi-tw, height=-tt)
  Cylinder17.subtract(Cylinder18)
  Box6 = box(corner=(C4-lambda/4+tw/2, -Yf +pin_diam/2, -h-len), size=(-1mm, 2.5mm, -tt))
  Cylinder17.subtract(Box6)
  Cylinder19 = cylinder(axis=Z, base_centre=(C3+lambda/4-tw/2, -Yf+lambda/4/pi+pin_diam/2, -h-len), radius=lambda/4/pi, height=-tt)
  Cylinder20 = cylinder(axis=Z, base_centre=(C3+lambda/4-tw/2, -Yf+lambda/4/pi+pin_diam/2, -h-len), radius=lambda/4/pi-tw, height=-tt)
  Cylinder19.subtract(Cylinder20)
  Box7 = box(corner=(C3+lambda/4-tw/2, -Yf +pin_diam/2, -h-len), size=(1mm, 2.5mm, -tt))
  Cylinder19.subtract(Box7)
  Box8 = box(corner=(C2-pin_diam/2, -Yf+pin_diam/2, -h-len), size=(lambda/4-tw/2+pin_diam/2, -tw, -tt))
  Box9 = box(corner=(C1+pin_diam/2, -Yf+pin_diam/2, -h-len), size=(-lambda/4+tw/2-pin_diam/2, -tw, -tt))
  Cylinder21 = cylinder(axis=Z, base_centre=(C2+lambda/4+tw/2, -Yf+lambda/4/pi+pin_diam/2, -h-len), radius=lambda/4/pi, height=-tt)
  Cylinder23 = cylinder(axis=Z, base_centre=(C2+lambda/4+tw/2, -Yf+lambda/4/pi+pin_diam/2, -h-len), radius=lambda/4/pi-tw, height=-tt)
  Cylinder21.subtract(Cylinder23)
  Box10 = box(corner=(C2+lambda/4+tw/2, -Yf +pin_diam/2, -h-len), size=(-1mm, 2.5mm, -tt))
  Cylinder21.subtract(Box10)
  Cylinder22 = cylinder(axis=Z, base_centre=(C1-lambda/4-tw/2, -Yf+lambda/4/pi+pin_diam/2, -h-len), radius=lambda/4/pi, height=-tt)
  Cylinder24 = cylinder(axis=Z, base_centre=(C1-lambda/4-tw/2, -Yf+lambda/4/pi+pin_diam/2, -h-len), radius=lambda/4/pi-tw, height=-tt)
  Cylinder22.subtract(Cylinder24)
  Box11 = box(corner=(C1-lambda/4-tw/2, -Yf +pin_diam/2, -h-len), size=(1mm, 2.5mm, -tt))
  Cylinder22.subtract(Box11)
  Box12 = box(corner=(-6.1009mm, -1.4768mm, -5.18mm), size=(-tw, 2*tw, -tt))
  Box12.unite(Box8, Cylinder22)
  Box13 = box(corner=(-5.8991mm, -1.0732mm, -5.18mm), size=(tw, -2*tw, -tt))
  Box13.unite(Box9, Cylinder21)
  Box14 = box(corner=(-5.8991mm, 0.43305932mm, -5.38mm), size=(-0.2009mm, 0.75mm, 0.2mm))
  Box15 = box(corner=(6.1009mm, -1.0732mm, -5.18mm), size=(tw, -2*tw, -tt))
  Box2.unite(Box15, Cylinder17)
  Box16 = box(corner=(5.8991mm, -1.4768mm, -5.38mm), size=(-tw, 2*tw, tt))
  Cylinder19.unite(Box16, Box4)
  Box17 = box(corner=(6.1009mm, 0.43305932mm, -5.38mm), size=(-tw, 0.75mm, tt))
  Box18 [pec] = box(corner=(5.8991mm, -1.4768mm, -5.38mm), size=(tw, tw, tt))
  Box19 [pec] = box(corner=(-6.1009mm, -1.4768mm, -5.38mm), size=(tw, tw, tt))
  Box20 = box(corner=(6.1009mm, 1.1830593mm, -5.38mm), size=(-lambda/2, tw, tt))
  Box21 = box(corner=(-6.1mm, 1.1830593mm, -5.38mm), size=(lambda/2, tw, tt))
  Box22 [pec] = box(corner=(0.1009mm, 1.1830593mm, -5.38mm), size=(-tw, tw, tt))
  Cylinder25 [pec] = cylinder(axis=Z, base_centre=(0.1009mm, 1.2839593171027mm-lambda/4/pi-tw/2, -h-len), radius=lambda/4/pi, height=-tt)
  Cylinder26 = cylinder(axis=Z, base_centre=(0.1009mm, 1.2839593171027mm-lambda/4/pi-tw/2, -h-len), radius=lambda/4/pi-tw, height=-tt)
  Cylinder25.subtract(Cylinder26)
  Box23 = box(corner=(0.1009mm, 1.1830593mm, -5.18mm), size=(-1.1009mm, -1.9830593mm, -1.82mm))
  Cylinder25.subtract(Box23)
  Cylinder27 = cylinder(axis=Z, base_centre=(-0.1009mm, 1.2839593171027mm-lambda/4/pi-tw/2, -h-len), radius=lambda/4/pi, height=-tt)
  Cylinder28 = cylinder(axis=Z, base_centre=(-0.1009mm, 1.2839593171027mm-lambda/4/pi-tw/2, -h-len), radius=lambda/4/pi-tw, height=-tt)
  Cylinder27.subtract(Cylinder28)
  Box24 = box(corner=(-0.1009mm, 1.1830593mm, -5.18mm), size=(1.1009mm, -1.9830593mm, -1.82mm))
  Cylinder27.subtract(Box24)
  Box25 = box(corner=(-0.1009mm, 1.3848593mm, -5.18mm), size=(-tw, -tw*2, -tt))
  Box25.unite(Cylinder27, Box21)
  Box26 = box(corner=(0.1009mm, 1.3848593mm, -5.18mm), size=(tw, -tw*2, -tt))
  Cylinder25.unite(Box26, Box20)
  Box27 = box(corner=(0.1009mm, -0.525mm, -5.18mm), size=(-tw, -2*tw, -tt))
  Box28 = box(corner=(-0.1009mm, -0.9286mm, -5.18mm), size=(tw, -2.0714mm, -tt))
  Box27.unite(Box28)
  Box29 [air] = box(corner=(-lambda, -lambda/4, -h-len-tt-h-h/4), size=(2*lambda, lambda/2, h+len+tt+h+h/4))
  Box30 [pec] = box(corner=(-lambda, -lambda/4, -h-len-tt-h), size=(2*lambda, lambda/2, -h/4))
  Cylinder25.unite(Box27, Box25, Box17, Box2, Cylinder19, Box13, Box12, Box14)
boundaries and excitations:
  PerfE5: Perfect E Faces=Cylinder6.face(1 of 3)
  PerfE6: Perfect E Faces=Cylinder5.face(1 of 3)
  PerfE7: Perfect E Faces=Cylinder7.face(1 of 3)
  PerfE8: Perfect E Faces=Cylinder8.face(1 of 3)
  Imped1: Impedance Objects=Box18 Resistance=100 Reactance=0
  Imped2: Impedance Objects=Box19 Resistance=100 Reactance=0
  Imped3: Impedance Objects=Box22 Resistance=100 Reactance=0
  Ground: Perfect E Faces=Box29.face(-z)
  Cylinder25_T1: Terminal port=1 Faces=Cylinder25.face(3 of 6) TerminalResistance=50ohm
  1: Wave Port Faces=Box29.face(-y) NumModes=1
  reference conductors: Box30
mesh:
  initial mesh: GlobalSurfApproximation{CurvedSurfaceApproxChoice=UseSlider SliderMeshSettings=1}
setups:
  Setup1: HfssDriven Frequency=24.5GHz MaxDeltaS=0.02 MaximumPasses=15 MinimumPasses=1 MinimumConvergedPasses=1 PercentRefinement=30 BasisOrder=1 PortAccuracy=2 DrivenSolverType="Direct Solver" InfiniteSphereSetup=66
    sweep Sweep: 21.5GHz to 27.5GHz, 1501 points; Type=Fast
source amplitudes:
  1:1: 1V 0deg

design Generated 1x4 Array1 (HFSS, DrivenTerminal, model units mm)
options: Allow_Material_Override
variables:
  Lg = lambda/2
  wg = lambda/2
  h = 0.015*lambda
  L = 4.7mm
  w = 3.9mm
  Xf = 0mm
  Yf = 1.4mm
  die_diam = 2.4mm
  pin_diam = 0.25mm
  lambda = 12mm
  len = 5mm
  PhiScan = 0deg
  ThetaScan = 0deg
  ScanFrequency = 24500000000Hz
  ScanAngleTheta = 0deg
  ScanAnglePhi = 0deg
  ScanPhaseShiftA = -((ScanFrequency*0.0*sin(ScanAngleTheta)*cos(ScanAnglePhi)) + (ScanFrequency*1.25750701317e-10*sin(ScanAngleTheta)*sin(ScanAnglePhi))) rad
  ScanPhaseShiftB = -((ScanFrequency*1.25750701317e-10*sin(ScanAngleTheta)*cos(ScanAnglePhi)) + (ScanFrequency*0.0*sin(ScanAngleTheta)*sin(ScanAnglePhi))) rad
  ScanMag1 = 1V
  ScanPhase1 = 0deg
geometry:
  Substrate [Rogers RT/duroid 5880 (tm)] = box(corner=(-Lg/2, -wg/2, -h), size=(Lg, wg, h))
  Patch = rectangle(corner=(-L/2, -w/2, 0mm), x_size=L, y_size=w)
  Ground = rectangle(corner=(-Lg/2, -wg/2, -h), x_size=Lg, y_size=wg)
  Circle1 = circle(normal=Z, centre=(Xf, Yf, -h), radius=die_diam/2)
  Ground.subtract(Circle1)
  Cylinder1 = cylinder(axis=Z, base_centre=(Xf, Yf, 0mm), radius=pin_diam/2, height=-h)
  Substrate.subtract(Cylinder1)
  SMA_Dielectric [air] = cylinder(axis=Z, base_centre=(Xf, Yf, -h), radius=die_diam/2, height=-len)
  Cylinder3 = cylinder(axis=Z, base_centre=(Xf, Yf, -h), radius=pin_diam/2, height=-10mm)
  SMA_Dielectric.subtract(Cylinder3)
  SMA_Pin [pec] = cylinder(axis=Z, base_centre=(Xf, Yf, 0mm), radius=pin_diam/2, height=-h-len)
  pec_cap [pec] = cylinder(axis=Z, base_centre=(Xf, Yf, -h-len), radius=die_diam/2, height=-h/10)
  waveport = circle(normal=Z, centre=(Xf, Yf, -h-len), radius=die_diam/2)
  RadiatingSurface [air] = region(absolute_offset: +X=0mm, -X=0mm, +Y=0mm, -Y=0mm, +Z=4.0816327mm, -Z=0mm)
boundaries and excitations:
  Ground_Plane: Perfect E Objects=Ground
  Patch: Perfect E Objects=Patch
  Outer_Conductor: Perfect E Faces=SMA_Dielectric.face(1 of 3)
  LatticePair1: Lattice Pair Faces=RadiatingSurface.face(-y, +y) CoordSysVector{(-3, -3, 4.0816327) -> (-3, -3, -5.198)} ReverseV PhaseDelay=UseScanAngle Phi=PhiScan Theta=ThetaScan
  LatticePair2: Lattice Pair Faces=RadiatingSurface.face(-x, +x) CoordSysVector{(-3, 3, 4.0816327) -> (-3, 3, -5.198)} ReverseV PhaseDelay=UseScanAngle Phi=PhiScan Theta=ThetaScan
  Rad1: Radiation Faces=RadiatingSurface.face(+z, -z)
  SMA_Pin_T1: Terminal port=1 Faces=SMA_Pin.face(2 of 3) TerminalResistance=50ohm
  1: Wave Port Faces=waveport.face NumModes=1
  reference conductors: pec_cap
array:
  Type=Regular Name=4x1 UseAirObjects RowPrimaryBnd=LatticePair1 ColumnPrimaryBnd=LatticePair2 RowDimension=1 ColumnDimension=4 ShowCellNumber RenderType=0 Padding=1 PostProcessRow=1 PostProcessCol=1 ReferenceCSID=1
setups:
  Setup1: HfssDriven Frequency=24.5GHz MaxDeltaS=0.02 MaximumPasses=5 MinimumPasses=1 MinimumConvergedPasses=1 PercentRefinement=30 BasisOrder=1 PortAccuracy=2 DrivenSolverType="Direct Solver" InfiniteSphereSetup=88
    sweep Sweep: 23.5GHz to 25.5GHz, 501 points; Type=Discrete SaveFields
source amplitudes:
  1:1: ScanMag1*1 ScanPhase1 + (0*ScanPhaseShiftA + 0*ScanPhaseShiftB)
  1:2: ScanMag1*1 ScanPhase1 + (0*ScanPhaseShiftA + 1*ScanPhaseShiftB)
  1:3: ScanMag1*1 ScanPhase1 + (0*ScanPhaseShiftA + 2*ScanPhaseShiftB)
  1:4: ScanMag1*1 ScanPhase1 + (0*ScanPhaseShiftA + 3*ScanPhaseShiftB)
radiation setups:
  Infinite Sphere1: Infinite Sphere Theta=-180deg..180deg step 10deg Phi=-180deg..180deg step 10deg
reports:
  S-Parameters: dB(St(4x1[1,1]SMA_Pin_T1,4x1[1,1]SMA_Pin_T1)), dB(St(4x1[1,2]SMA_Pin_T1,4x1[1,1]SMA_Pin_T1)), dB(St(4x1[1,3]SMA_Pin_T1,4x1[1,1]SMA_Pin_T1)), dB(St(4x1[1,4]SMA_Pin_T1,4x1[1,1]SMA_Pin_T1)), dB(St(4x1[1,1]SMA_Pin_T1,4x1[1,2]SMA_Pin_T1)), dB(St(4x1[1,2]SMA_Pin_T1,4x1[1,2]SMA_Pin_T1)), dB(St(4x1[1,3]SMA_Pin_T1,4x1[1,2]SMA_Pin_T1)), dB(St(4x1[1,4]SMA_Pin_T1,4x1[1,2]SMA_Pin_T1)), dB(St(4x1[1,1]SMA_Pin_T1,4x1[1,3]SMA_Pin_T1)), dB(St(4x1[1,2]SMA_Pin_T1,4x1[1,3]SMA_Pin_T1)), dB(St(4x1[1,3]SMA_Pin_T1,4x1[1,3]SMA_Pin_T1)), dB(St(4x1[1,4]SMA_Pin_T1,4x1[1,3]SMA_Pin_T1)), dB(St(4x1[1,1]SMA_Pin_T1,4x1[1,4]SMA_Pin_T1)), dB(St(4x1[1,2]SMA_Pin_T1,4x1[1,4]SMA_Pin_T1)), dB(St(4x1[1,3]SMA_Pin_T1,4x1[1,4]SMA_Pin_T1)), dB(St(4x1[1,4]SMA_Pin_T1,4x1[1,4]SMA_Pin_T1)) vs Freq on Setup1 : Sweep
  Gain Plot 1: dB(GainTotal) vs Phi, Theta on Setup1 : LastAdaptive, Infinite Sphere1 [Freq=24.5GHz]
  Directivity 2D [dB]: dB(DirTotal) vs Theta on Setup1 : LastAdaptive, Infinite Sphere1 [Phi=0deg,90deg Freq=24.5GHz]; markers m1 at 0deg, m2 at -180deg, m4 at 50deg, m6 at 40deg
  VSWR @Each Port: VSWRt(4x1[1,1]SMA_Pin_T1), VSWRt(4x1[1,2]SMA_Pin_T1), VSWRt(4x1[1,3]SMA_Pin_T1), VSWRt(4x1[1,4]SMA_Pin_T1) vs Freq on Setup1 : Sweep; markers m1 at 23.972GHz, m2 at 24.536GHz
  Gain 2d [dB]: dB(GainTotal) vs Theta on Setup1 : LastAdaptive, Infinite Sphere1 [Phi=0deg,90deg Freq=24.5GHz]; markers m1 at 0deg, m2 at 10deg, m3 at 50deg, m4 at -180deg
